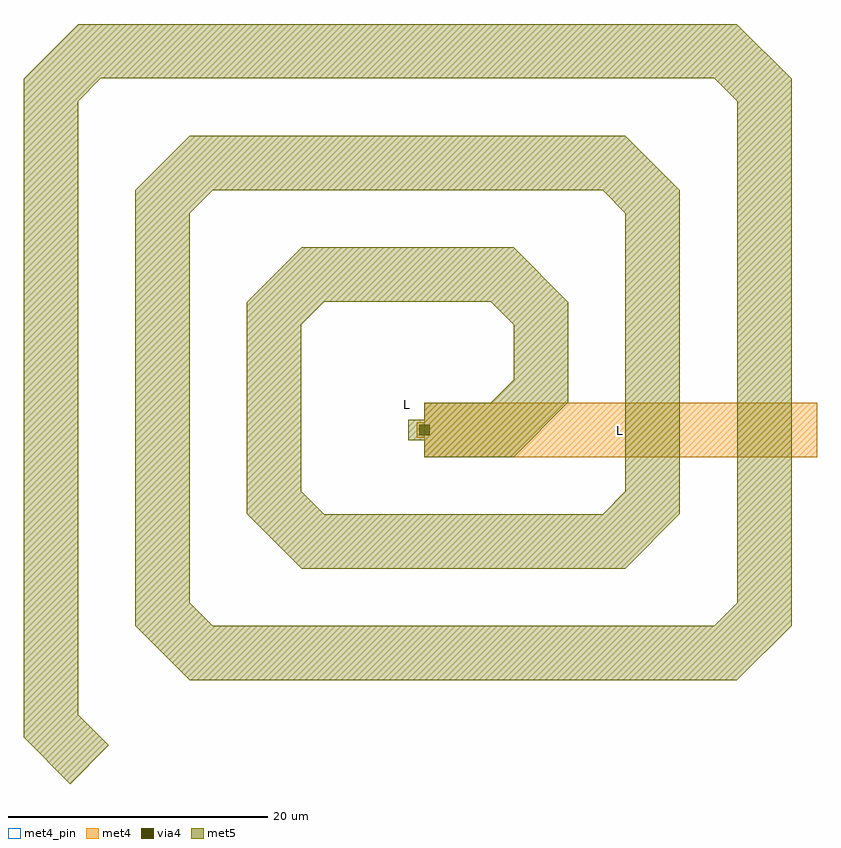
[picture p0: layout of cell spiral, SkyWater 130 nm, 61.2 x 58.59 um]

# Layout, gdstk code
import gdstk
lib = gdstk.Library(unit=1e-6, precision=1e-09)
def R(c, l, rs):  # rectangles x0, y0, x1, y1
    for r in rs: c.add(gdstk.rectangle(r[:2], r[2:], *l))
def P(c, l, *ps):  # polygons
    for p in ps: c.add(gdstk.Polygon(p, *l))
met4_pin = (71, 16)
met4 = (71, 20)
via4 = (71, 44)
met5 = (72, 20)

spiral = lib.new_cell('spiral')
R(spiral, met4_pin, [(0,-2.1,30.3,2.1)])
R(spiral, met4, [(0,-2.1,30.3,2.1), (-0.59,-0.59,0.59,0.59)])
R(spiral, via4, [(-0.4,-0.4,0.4,0.4)])
R(spiral, met5, [(-1.25,-0.8,1.25,0.8)])
P(spiral, met5, [(-27.285,-27.285),(-30.9,-23.67),(-30.9,27.07),(-26.67,31.3),(24.07,31.3),(28.3,27.07),(28.3,-15.07),(24.07,-19.3),(-18.07,-19.3),(-22.3,-15.07),(-22.3,18.47),(-18.07,22.7),(15.47,22.7),(19.7,18.47),(19.7,-6.47),(15.47,-10.7),(-9.47,-10.7),(-13.7,-6.47),(-13.7,9.87),(-9.47,14.1),(6.87,14.1),(11.1,9.87),(11.1,2.13),(6.87,-2.1),(0,-2.1),(0,2.1),(5.13,2.1),(6.9,3.87),(6.9,8.13),(5.13,9.9),(-7.73,9.9),(-9.5,8.13),(-9.5,-4.73),(-7.73,-6.5),(13.73,-6.5),(15.5,-4.73),(15.5,16.73),(13.73,18.5),(-16.33,18.5),(-18.1,16.73),(-18.1,-13.33),(-16.33,-15.1),(22.33,-15.1),(24.1,-13.33),(24.1,25.33),(22.33,27.1),(-24.93,27.1),(-26.7,25.33),(-26.7,-21.93),(-24.315,-24.315)])
spiral.add(gdstk.Label('L', (15.15,0), layer=71, texttype=16))
spiral.add(gdstk.Label('L', (15.15,0), layer=71, texttype=5))
spiral.add(gdstk.Label('L', (-1.3,2.005), layer=72, texttype=5))

lib.write_gds('spiral.gds')
